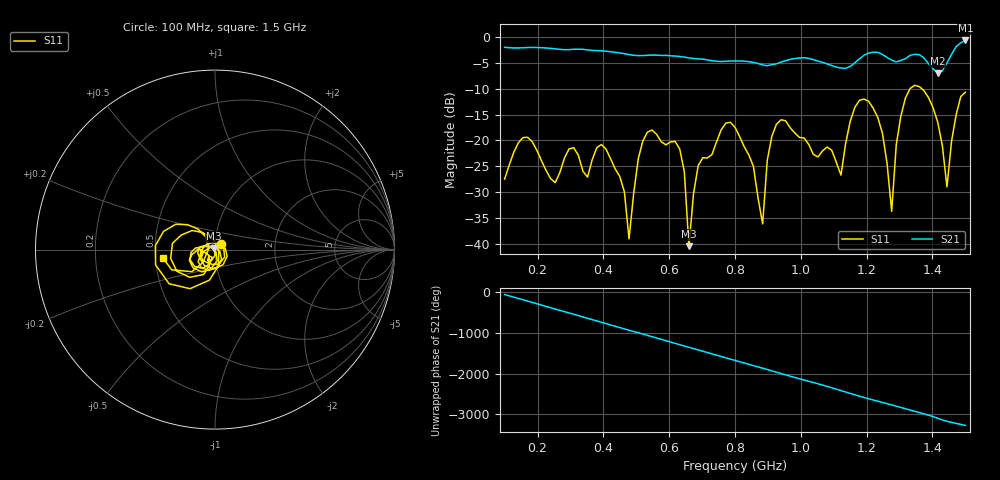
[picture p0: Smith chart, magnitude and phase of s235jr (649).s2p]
! NanoVNA-App
! Date: 2025-09-25 15:09:13
! Start: 100MHz Stop: 1,5GHz Points: 101
! S-Parameter data: F S11 S21 S12 S22
# Hz S RI R 50
!  Frequency  S11_Real  S11_Imag  S21_Real  S21_Imag  S12_Real  S12_Imag  S22_Real  S22_Imag
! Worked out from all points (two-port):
!   101 points, 100 MHz to 1.5 GHz, reference 50 ohm
!   highest |S21| = -0.64 dB at 1.5 GHz (marker M1); lowest = -7.0 dB at 1.416 GHz (marker M2)
!   |S21| within 3 dB of the highest: start of sweep to 612.3 MHz; 1.189 GHz to 1.255 GHz (66.04 MHz wide, 5.4 % of centre) (the widest 2 of 4)
!   lowest |S11| = -40.5 dB at 660 MHz (marker M3), VSWR 1.02, Z = 49.3 + j0.614 ohm
!   |S11| at or under -10 dB: start of sweep to 1.331 GHz; 1.368 GHz to end of sweep
!   S12 and S22 are empty: the file has one direction only
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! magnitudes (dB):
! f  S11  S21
! 100 MHz  -27.5  -2.0
! 156 MHz  -19.4  -2.0
! 338 MHz  -25.9  -2.4
! 408 MHz  -21.7  -2.7
! 478 MHz  -39.1  -3.4
! 520 MHz  -20.1  -3.6
! 576 MHz  -20.2  -3.5
! 632 MHz  -21.6  -3.7
! 660 MHz  -40.5  -4.0
! 688 MHz  -24.9  -4.2
! 800 MHz  -17.5  -4.6
! 884 MHz  -36.1  -5.4
! 926 MHz  -16.8  -5.2
! 1.038 GHz  -22.7  -4.4
! 1.122 GHz  -26.7  -6.0
! 1.206 GHz  -12.4  -3.1
! 1.276 GHz  -33.7  -4.5
! 1.29 GHz  -20.8  -4.8
! 1.332 GHz  -9.9  -3.5
! 1.416 GHz  -16.5  -7.0
! 1.444 GHz  -29.0  -5.0
! 1.5 GHz  -10.7  -0.6
